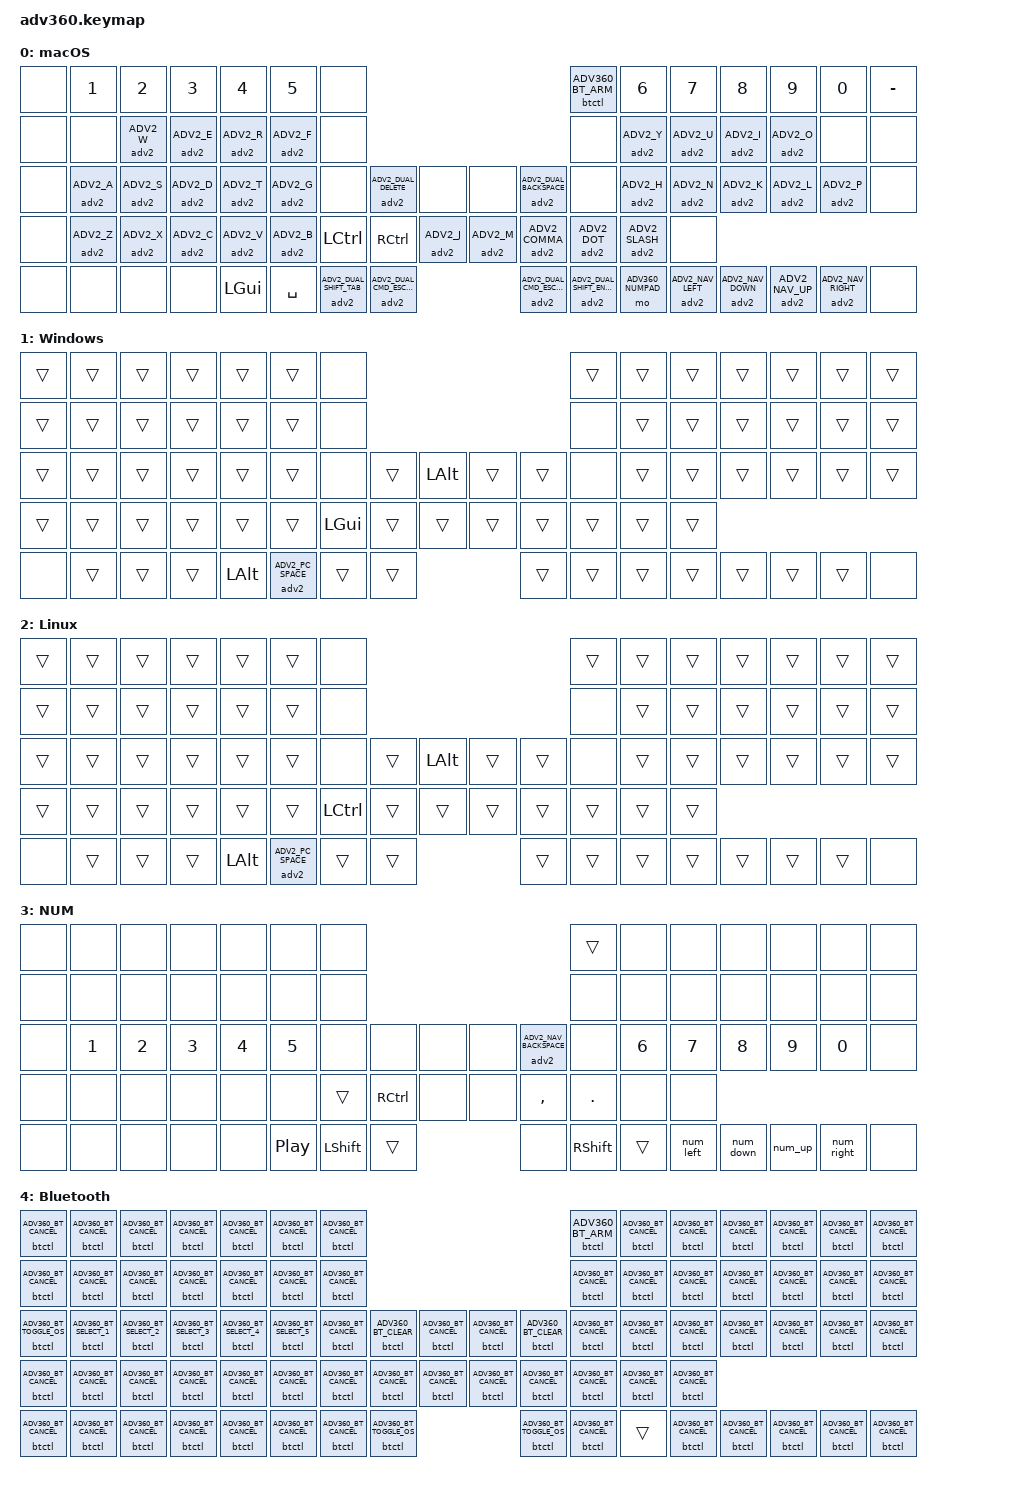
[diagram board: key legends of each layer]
#include <behaviors.dtsi>
#include <dt-bindings/zmk/adv2_layout.h>
#include <dt-bindings/zmk/adv360_bt_control.h>
#include <dt-bindings/zmk/keys.h>
#include <dt-bindings/zmk/modifiers.h>
#include <dt-bindings/zmk/backlight.h>
#include <dt-bindings/zmk/adv360_layers.h>

#define MACOS ADV360_MACOS
#define WINDOWS ADV360_WINDOWS
#define LINUX ADV360_LINUX
#define NUMPAD ADV360_NUMPAD
#define BLUETOOTH ADV360_BLUETOOTH

#define BTC &btctl ADV360_BT_CANCEL
#define BTA &btctl ADV360_BT_ARM
#define BTS1 &btctl ADV360_BT_SELECT_1
#define BTS2 &btctl ADV360_BT_SELECT_2
#define BTS3 &btctl ADV360_BT_SELECT_3
#define BTS4 &btctl ADV360_BT_SELECT_4
#define BTS5 &btctl ADV360_BT_SELECT_5
#define BTCLR &btctl ADV360_BT_CLEAR
#define BTOS &btctl ADV360_BT_TOGGLE_OS

/ {
    behaviors {
        adv2: adv2_resolver {
            compatible = "geekhunger,behavior-adv2-resolver";
            #binding-cells = <1>;
        };

        btctl: adv360_bt_control {
            compatible = "geekhunger,behavior-adv360-bt-control";
            #binding-cells = <1>;
        };

        // Shared NUM controls for macOS and Windows. Shift selects brightness;
        // it is consumed by mod-morph, and the chosen action stays until release.
        num_left: num_media_left {
            compatible = "zmk,behavior-mod-morph";
            #binding-cells = <0>;
            bindings = <&kp C_PREV>, <&bl BL_DEC>;
            mods = <(MOD_LSFT | MOD_RSFT)>;
        };
        num_down: num_media_down {
            compatible = "zmk,behavior-mod-morph";
            #binding-cells = <0>;
            bindings = <&kp C_VOL_DN>, <&kp C_BRI_DN>;
            mods = <(MOD_LSFT | MOD_RSFT)>;
        };
        num_up: num_media_up {
            compatible = "zmk,behavior-mod-morph";
            #binding-cells = <0>;
            bindings = <&kp C_VOL_UP>, <&kp C_BRI_UP>;
            mods = <(MOD_LSFT | MOD_RSFT)>;
        };
        num_right: num_media_right {
            compatible = "zmk,behavior-mod-morph";
            #binding-cells = <0>;
            bindings = <&kp C_NEXT>, <&bl BL_INC>;
            mods = <(MOD_LSFT | MOD_RSFT)>;
        };

    };

    keymap {
        compatible = "zmk,keymap";

        macos_layer {
            display-name = "macOS";
            bindings = <
                &none &kp N1 &kp N2 &kp N3 &kp N4 &kp N5 &none                                      BTA &kp N6 &kp N7 &kp N8 &kp N9 &kp N0 &kp MINUS
                &none &none &adv2 ADV2_W &adv2 ADV2_E &adv2 ADV2_R &adv2 ADV2_F &none   &none &adv2 ADV2_Y &adv2 ADV2_U &adv2 ADV2_I &adv2 ADV2_O &none &none
                &none &adv2 ADV2_A &adv2 ADV2_S &adv2 ADV2_D &adv2 ADV2_T &adv2 ADV2_G &none   &adv2 ADV2_DUAL_DELETE &none   &none &adv2 ADV2_DUAL_BACKSPACE   &none &adv2 ADV2_H &adv2 ADV2_N &adv2 ADV2_K &adv2 ADV2_L &adv2 ADV2_P &none
                &none &adv2 ADV2_Z &adv2 ADV2_X &adv2 ADV2_C &adv2 ADV2_V &adv2 ADV2_B   &kp LCTRL &kp RCTRL   &adv2 ADV2_J &adv2 ADV2_M &adv2 ADV2_COMMA &adv2 ADV2_DOT &adv2 ADV2_SLASH &none
                &none &none &none &none &kp LGUI   &kp SPACE &adv2 ADV2_DUAL_SHIFT_TAB &adv2 ADV2_DUAL_CMD_ESCAPE   &adv2 ADV2_DUAL_CMD_ESCAPE &adv2 ADV2_DUAL_SHIFT_ENTER &mo NUMPAD   &adv2 ADV2_NAV_LEFT &adv2 ADV2_NAV_DOWN &adv2 ADV2_NAV_UP &adv2 ADV2_NAV_RIGHT &none
            >;
        };

        windows_layer {
            display-name = "Windows";
            bindings = <
                &trans &trans &trans &trans &trans &trans &none                                      &trans &trans &trans &trans &trans &trans &trans
                &trans &trans &trans &trans &trans &trans &none                                      &none &trans &trans &trans &trans &trans &trans
                &trans &trans &trans &trans &trans &trans &none   &trans &kp LALT   &trans &trans   &none &trans &trans &trans &trans &trans &trans
                &trans &trans &trans &trans &trans &trans   &kp LGUI &trans   &trans &trans &trans &trans &trans &trans
                &none &trans &trans &trans &kp LALT   &adv2 ADV2_PC_SPACE &trans &trans   &trans &trans &trans   &trans &trans &trans &trans &none
            >;
        };

        linux_layer {
            display-name = "Linux";
            // Same physical delta as Windows; the resolver selects Linux outputs.
            bindings = <
                &trans &trans &trans &trans &trans &trans &none                                      &trans &trans &trans &trans &trans &trans &trans
                &trans &trans &trans &trans &trans &trans &none                                      &none &trans &trans &trans &trans &trans &trans
                &trans &trans &trans &trans &trans &trans &none   &trans &kp LALT   &trans &trans   &none &trans &trans &trans &trans &trans &trans
                &trans &trans &trans &trans &trans &trans   &kp LCTRL &trans   &trans &trans &trans &trans &trans &trans
                &none &trans &trans &trans &kp LALT   &adv2 ADV2_PC_SPACE &trans &trans   &trans &trans &trans   &trans &trans &trans &trans &none
            >;
        };

        numpad_layer {
            display-name = "NUM";
            bindings = <
                &none &none &none &none &none &none &none                                      &trans &none &none &none &none &none &none
                &none &none &none &none &none &none &none                                      &none &none &none &none &none &none &none
                &none &kp N1 &kp N2 &kp N3 &kp N4 &kp N5 &none   &none &none   &none &adv2 ADV2_NAV_BACKSPACE   &none &kp N6 &kp N7 &kp N8 &kp N9 &kp N0 &none
                &none &none &none &none &none &none   &trans &kp RCTRL   &none &none &kp COMMA &kp DOT &none &none
                &none &none &none &none &none   &kp C_PP &kp LSHIFT &trans   &none &kp RSHIFT &trans   &num_left &num_down &num_up &num_right &none
            >;
        };

        bluetooth_layer {
            display-name = "Bluetooth";
            bindings = <
                BTC BTC BTC BTC BTC BTC BTC                                      BTA BTC BTC BTC BTC BTC BTC
                BTC BTC BTC BTC BTC BTC BTC                                      BTC BTC BTC BTC BTC BTC BTC
                BTOS BTS1 BTS2 BTS3 BTS4 BTS5 BTC   BTCLR BTC   BTC BTCLR   BTC BTC BTC BTC BTC BTC BTC
                BTC BTC BTC BTC BTC BTC   BTC BTC   BTC BTC BTC BTC BTC BTC
                BTC BTC BTC BTC BTC   BTC BTC BTOS   BTOS BTC &trans   BTC BTC BTC BTC BTC
            >;
        };
    };
};
